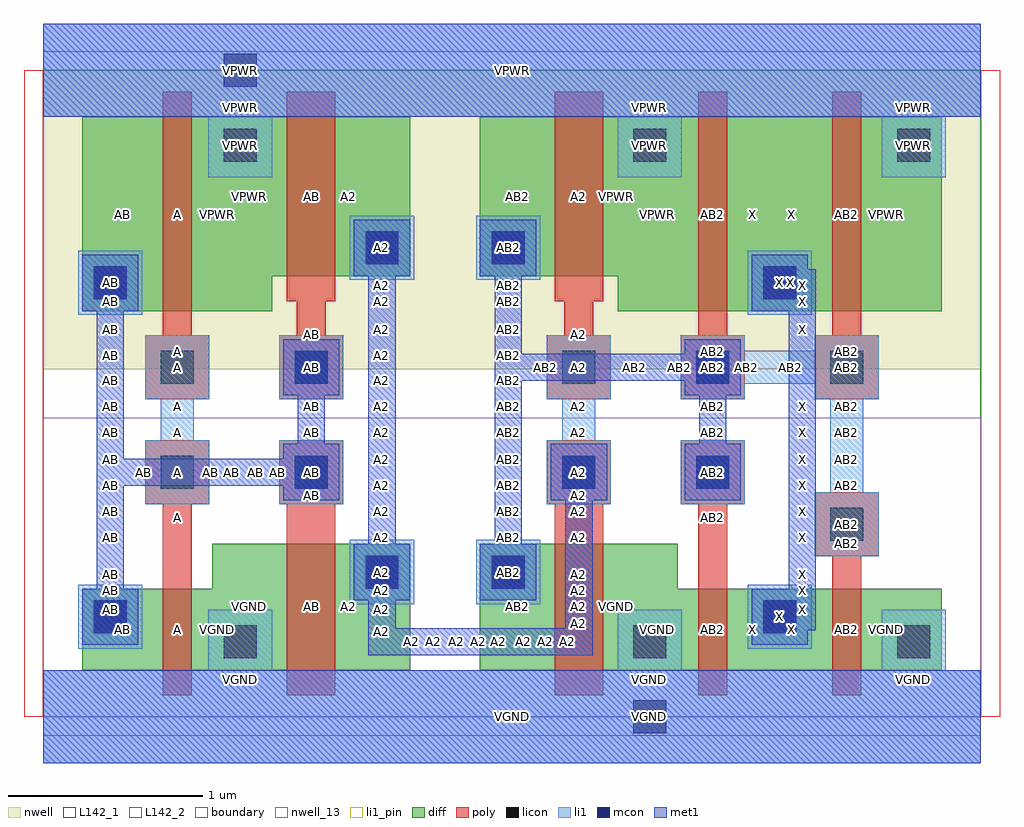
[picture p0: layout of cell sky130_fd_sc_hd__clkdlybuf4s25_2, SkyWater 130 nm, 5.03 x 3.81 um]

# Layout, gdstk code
import gdstk
lib = gdstk.Library(unit=1e-6, precision=1e-09)
def R(c, l, rs):  # rectangles x0, y0, x1, y1
    for r in rs: c.add(gdstk.rectangle(r[:2], r[2:], *l))
def A(c, l, x, y, w, h, nx, ny, dx, dy):  # array of equal rectangles
    R(c, l, [(x+i*dx, y+j*dy, x+i*dx+w, y+j*dy+h) for i in range(nx) for j in range(ny)])
def P(c, l, *ps):  # polygons
    for p in ps: c.add(gdstk.Polygon(p, *l))
nwell_13 = (64, 13)
nwell = (64, 20)
diff = (65, 20)
poly = (66, 20)
licon = (66, 44)
li1_pin = (67, 16)
li1 = (67, 20)
mcon = (67, 44)
met1 = (68, 20)
L142_1 = (142, 1)
L142_2 = (142, 2)
boundary = (235, 4)

sky130_fd_sc_hd__clkdlyb = lib.new_cell('sky130_fd_sc_hd__clkdlybuf4s25_2')
R(sky130_fd_sc_hd__clkdlyb, nwell_13, [(0,0,4.83,1.54)])
R(sky130_fd_sc_hd__clkdlyb, nwell, [(0,1.79,4.83,3.33)])
R(sky130_fd_sc_hd__clkdlyb, diff, [(0.2,0.24,0.615,0.66), (1.255,0.24,1.89,0.89), (2.25,0.24,2.635,0.89), (3.375,0.24,4.065,0.66), (4.065,0.24,4.63,0.66), (0.2,2.09,0.615,3.09), (3.375,2.09,4.065,3.09), (4.065,2.09,4.63,3.09), (1.255,2.27,1.89,3.09), (2.25,2.27,2.635,3.09)])
P(sky130_fd_sc_hd__clkdlyb, diff, [(0.2,0.24),(0.2,0.66),(0.87,0.66),(0.87,0.89),(1.89,0.89),(1.89,0.24)],
  [(2.25,0.24),(2.25,0.89),(3.27,0.89),(3.27,0.66),(4.63,0.66),(4.63,0.24)],
  [(0.2,2.09),(0.2,3.09),(1.89,3.09),(1.89,2.27),(1.18,2.27),(1.18,2.09)],
  [(2.96,2.09),(2.96,2.27),(2.25,2.27),(2.25,3.09),(4.63,3.09),(4.63,2.09)],
  [(0.615,0.24),(0.615,0.66),(0.87,0.66),(0.87,0.89),(1.255,0.89),(1.255,0.24)],
  [(2.635,0.24),(2.635,0.89),(3.27,0.89),(3.27,0.66),(3.375,0.66),(3.375,0.24)],
  [(0.615,2.09),(0.615,3.09),(1.255,3.09),(1.255,2.27),(1.18,2.27),(1.18,2.09)],
  [(2.96,2.09),(2.96,2.27),(2.635,2.27),(2.635,3.09),(3.375,3.09),(3.375,2.09)])
R(sky130_fd_sc_hd__clkdlyb, poly, [(1.255,1.02,1.305,1.095), (1.455,1.02,1.505,1.095), (2.635,1.02,2.685,1.095), (2.835,1.02,2.885,1.095)])
P(sky130_fd_sc_hd__clkdlyb, poly, [(2.635,0.11),(2.635,1.02),(2.685,1.02),(2.685,1.095),(2.595,1.095),(2.595,1.425),(2.925,1.425),(2.925,1.095),(2.835,1.095),(2.835,1.02),(2.885,1.02),(2.885,0.11)],
  [(2.595,1.635),(2.595,1.965),(2.685,1.965),(2.685,2.14),(2.635,2.14),(2.635,3.22),(2.885,3.22),(2.885,2.14),(2.835,2.14),(2.835,1.965),(2.925,1.965),(2.925,1.635)],
  [(0.615,0.11),(0.615,1.095),(0.525,1.095),(0.525,1.425),(0.855,1.425),(0.855,1.095),(0.765,1.095),(0.765,0.11)],
  [(0.525,1.635),(0.525,1.965),(0.615,1.965),(0.615,3.22),(0.765,3.22),(0.765,1.965),(0.855,1.965),(0.855,1.635)],
  [(1.255,0.11),(1.255,1.02),(1.305,1.02),(1.305,1.095),(1.215,1.095),(1.215,1.425),(1.545,1.425),(1.545,1.095),(1.455,1.095),(1.455,1.02),(1.505,1.02),(1.505,0.11)],
  [(1.215,1.635),(1.215,1.965),(1.305,1.965),(1.305,2.14),(1.255,2.14),(1.255,3.22),(1.505,3.22),(1.505,2.14),(1.455,2.14),(1.455,1.965),(1.545,1.965),(1.545,1.635)],
  [(4.065,0.11),(4.065,0.825),(3.975,0.825),(3.975,1.155),(4.305,1.155),(4.305,0.825),(4.215,0.825),(4.215,0.11)],
  [(3.375,0.11),(3.375,1.095),(3.285,1.095),(3.285,1.425),(3.615,1.425),(3.615,1.095),(3.525,1.095),(3.525,0.11)],
  [(3.285,1.635),(3.285,1.965),(3.375,1.965),(3.375,3.22),(3.525,3.22),(3.525,1.965),(3.615,1.965),(3.615,1.635)],
  [(3.975,1.635),(3.975,1.965),(4.065,1.965),(4.065,3.22),(4.215,3.22),(4.215,1.965),(4.305,1.965),(4.305,1.635)])
A(sky130_fd_sc_hd__clkdlyb, licon, 2.675, 1.715, 0.17, 0.17, 3, 1, 0.69, 0)
R(sky130_fd_sc_hd__clkdlyb, licon, [(0.93,0.3,1.1,0.47), (3.04,0.3,3.21,0.47), (4.4,0.3,4.57,0.47), (0.26,0.43,0.43,0.6), (3.71,0.43,3.88,0.6), (1.66,0.66,1.83,0.83), (2.31,0.66,2.48,0.83), (4.055,0.905,4.225,1.075), (0.605,1.175,0.775,1.345), (1.295,1.175,1.465,1.345), (2.675,1.175,2.845,1.345), (3.365,1.175,3.535,1.345), (0.605,1.715,0.775,1.885), (1.295,1.715,1.465,1.885), (0.26,2.15,0.43,2.32), (3.71,2.15,3.88,2.32), (1.66,2.33,1.83,2.5), (2.31,2.33,2.48,2.5), (0.93,2.86,1.1,3.03), (3.04,2.86,3.21,3.03), (4.4,2.86,4.57,3.03)])
R(sky130_fd_sc_hd__clkdlyb, li1_pin, [(0,-0.24,4.83,0.24), (3.63,0.35,3.96,0.68), (0,3.09,4.83,3.57)])
P(sky130_fd_sc_hd__clkdlyb, li1_pin, [(0.525,1.095),(0.525,1.425),(0.605,1.425),(0.605,1.635),(0.525,1.635),(0.525,1.965),(0.855,1.965),(0.855,1.635),(0.775,1.635),(0.775,1.425),(0.855,1.425),(0.855,1.095)])
R(sky130_fd_sc_hd__clkdlyb, li1, [(0.18,0.35,0.51,0.68), (3.63,0.35,3.96,0.68), (1.58,0.58,1.91,0.91), (2.23,0.58,2.56,0.91), (1.215,1.095,1.545,1.425), (3.285,1.095,3.615,1.425), (1.215,1.635,1.545,1.965), (0.18,2.07,0.51,2.4), (3.63,2.07,3.96,2.4), (1.58,2.25,1.91,2.58), (2.23,2.25,2.56,2.58)])
P(sky130_fd_sc_hd__clkdlyb, li1, [(2.595,1.095),(2.595,1.425),(2.675,1.425),(2.675,1.635),(2.595,1.635),(2.595,1.965),(2.925,1.965),(2.925,1.635),(2.845,1.635),(2.845,1.425),(2.925,1.425),(2.925,1.095)],
  [(0.85,2.78),(0.85,3.09),(0,3.09),(0,3.57),(4.83,3.57),(4.83,3.09),(4.65,3.09),(4.65,2.78),(4.32,2.78),(4.32,3.09),(3.29,3.09),(3.29,2.78),(2.96,2.78),(2.96,3.09),(1.18,3.09),(1.18,2.78)],
  [(0,-0.24),(0,0.24),(0.85,0.24),(0.85,0.55),(1.18,0.55),(1.18,0.24),(2.96,0.24),(2.96,0.55),(3.29,0.55),(3.29,0.24),(4.32,0.24),(4.32,0.55),(4.65,0.55),(4.65,0.24),(4.83,0.24),(4.83,-0.24)],
  [(0.525,1.095),(0.525,1.425),(0.605,1.425),(0.605,1.635),(0.525,1.635),(0.525,1.965),(0.855,1.965),(0.855,1.635),(0.775,1.635),(0.775,1.425),(0.855,1.425),(0.855,1.095)],
  [(3.975,0.825),(3.975,1.155),(4.055,1.155),(4.055,1.635),(3.975,1.635),(3.975,1.715),(3.615,1.715),(3.615,1.635),(3.285,1.635),(3.285,1.965),(3.615,1.965),(3.615,1.885),(3.975,1.885),(3.975,1.965),(4.305,1.965),(4.305,1.635),(4.225,1.635),(4.225,1.155),(4.305,1.155),(4.305,0.825)])
R(sky130_fd_sc_hd__clkdlyb, mcon, [(3.04,-0.085,3.21,0.085), (0.26,0.43,0.43,0.6), (3.71,0.43,3.88,0.6), (1.66,0.66,1.83,0.83), (2.31,0.66,2.48,0.83), (1.295,1.175,1.465,1.345), (2.675,1.175,2.845,1.345), (3.365,1.175,3.535,1.345), (1.295,1.715,1.465,1.885), (3.365,1.715,3.535,1.885), (0.26,2.15,0.43,2.32), (3.71,2.15,3.88,2.32), (1.66,2.33,1.83,2.5), (2.31,2.33,2.48,2.5), (0.93,3.245,1.1,3.415)])
R(sky130_fd_sc_hd__clkdlyb, met1, [(0,-0.24,4.83,0.24), (0,3.09,4.83,3.57)])
P(sky130_fd_sc_hd__clkdlyb, met1, [(1.675,0.315),(1.675,0.6),(1.6,0.6),(1.6,0.89),(1.675,0.89),(1.675,2.27),(1.6,2.27),(1.6,2.56),(1.89,2.56),(1.89,2.27),(1.815,2.27),(1.815,0.89),(1.89,0.89),(1.89,0.6),(1.815,0.6),(1.815,0.455),(2.69,0.455),(2.69,1.115),(2.615,1.115),(2.615,1.405),(2.905,1.405),(2.905,1.115),(2.83,1.115),(2.83,0.315)],
  [(0.2,0.37),(0.2,0.66),(0.275,0.66),(0.275,2.09),(0.2,2.09),(0.2,2.38),(0.49,2.38),(0.49,2.09),(0.415,2.09),(0.415,1.33),(1.235,1.33),(1.235,1.405),(1.31,1.405),(1.31,1.655),(1.235,1.655),(1.235,1.945),(1.525,1.945),(1.525,1.655),(1.45,1.655),(1.45,1.405),(1.525,1.405),(1.525,1.115),(1.235,1.115),(1.235,1.19),(0.415,1.19),(0.415,0.66),(0.49,0.66),(0.49,0.37)],
  [(3.65,0.37),(3.65,0.66),(3.84,0.66),(3.84,2.09),(3.65,2.09),(3.65,2.38),(3.94,2.38),(3.94,2.305),(3.98,2.305),(3.98,0.445),(3.94,0.445),(3.94,0.37)],
  [(2.25,0.6),(2.25,0.89),(2.325,0.89),(2.325,2.27),(2.25,2.27),(2.25,2.56),(2.54,2.56),(2.54,2.27),(2.465,2.27),(2.465,1.87),(3.305,1.87),(3.305,1.945),(3.595,1.945),(3.595,1.655),(3.52,1.655),(3.52,1.405),(3.595,1.405),(3.595,1.115),(3.305,1.115),(3.305,1.405),(3.38,1.405),(3.38,1.655),(3.305,1.655),(3.305,1.73),(2.465,1.73),(2.465,0.89),(2.54,0.89),(2.54,0.6)])
R(sky130_fd_sc_hd__clkdlyb, L142_1, [(0,-0.1,4.83,0), (0,3.33,4.83,3.43)])
R(sky130_fd_sc_hd__clkdlyb, L142_2, [(-0.1,0,0,3.33), (4.83,0,4.93,3.33)])
R(sky130_fd_sc_hd__clkdlyb, boundary, [(0,0,4.83,3.33)])
sky130_fd_sc_hd__clkdlyb.add(gdstk.Label('AB2', (2.442,0.565), layer=65, texttype=20))
sky130_fd_sc_hd__clkdlyb.add(gdstk.Label('VGND', (2.952,0.565), layer=65, texttype=20))
sky130_fd_sc_hd__clkdlyb.add(gdstk.Label('X', (3.857,0.45), layer=65, texttype=20))
sky130_fd_sc_hd__clkdlyb.add(gdstk.Label('VGND', (4.347,0.45), layer=65, texttype=20))
sky130_fd_sc_hd__clkdlyb.add(gdstk.Label('VGND', (1.062,0.565), layer=65, texttype=20))
sky130_fd_sc_hd__clkdlyb.add(gdstk.Label('A2', (1.572,0.565), layer=65, texttype=20))
sky130_fd_sc_hd__clkdlyb.add(gdstk.Label('AB', (0.407,0.45), layer=65, texttype=20))
sky130_fd_sc_hd__clkdlyb.add(gdstk.Label('VGND', (0.897,0.45), layer=65, texttype=20))
sky130_fd_sc_hd__clkdlyb.add(gdstk.Label('VGND', (3.167,0.45), layer=65, texttype=20))
sky130_fd_sc_hd__clkdlyb.add(gdstk.Label('X', (3.657,0.45), layer=65, texttype=20))
sky130_fd_sc_hd__clkdlyb.add(gdstk.Label('AB2', (2.442,0.565), layer=65, texttype=20))
sky130_fd_sc_hd__clkdlyb.add(gdstk.Label('VGND', (2.952,0.565), layer=65, texttype=20))
sky130_fd_sc_hd__clkdlyb.add(gdstk.Label('X', (3.857,0.45), layer=65, texttype=20))
sky130_fd_sc_hd__clkdlyb.add(gdstk.Label('VGND', (4.347,0.45), layer=65, texttype=20))
sky130_fd_sc_hd__clkdlyb.add(gdstk.Label('VGND', (1.062,0.565), layer=65, texttype=20))
sky130_fd_sc_hd__clkdlyb.add(gdstk.Label('A2', (1.572,0.565), layer=65, texttype=20))
sky130_fd_sc_hd__clkdlyb.add(gdstk.Label('AB', (0.407,0.45), layer=65, texttype=20))
sky130_fd_sc_hd__clkdlyb.add(gdstk.Label('VGND', (0.897,0.45), layer=65, texttype=20))
sky130_fd_sc_hd__clkdlyb.add(gdstk.Label('VGND', (3.167,0.45), layer=65, texttype=20))
sky130_fd_sc_hd__clkdlyb.add(gdstk.Label('X', (3.657,0.45), layer=65, texttype=20))
sky130_fd_sc_hd__clkdlyb.add(gdstk.Label('AB2', (2.395,0.745), layer=65, texttype=20))
sky130_fd_sc_hd__clkdlyb.add(gdstk.Label('VGND', (3.125,0.385), layer=65, texttype=20))
sky130_fd_sc_hd__clkdlyb.add(gdstk.Label('VGND', (1.015,0.385), layer=65, texttype=20))
sky130_fd_sc_hd__clkdlyb.add(gdstk.Label('VGND', (4.485,0.385), layer=65, texttype=20))
sky130_fd_sc_hd__clkdlyb.add(gdstk.Label('X', (3.795,0.515), layer=65, texttype=20))
sky130_fd_sc_hd__clkdlyb.add(gdstk.Label('A2', (1.745,0.745), layer=65, texttype=20))
sky130_fd_sc_hd__clkdlyb.add(gdstk.Label('AB', (0.345,0.515), layer=65, texttype=20))
sky130_fd_sc_hd__clkdlyb.add(gdstk.Label('VPWR', (1.062,2.68), layer=65, texttype=20))
sky130_fd_sc_hd__clkdlyb.add(gdstk.Label('A2', (1.572,2.68), layer=65, texttype=20))
sky130_fd_sc_hd__clkdlyb.add(gdstk.Label('AB', (0.407,2.59), layer=65, texttype=20))
sky130_fd_sc_hd__clkdlyb.add(gdstk.Label('VPWR', (0.897,2.59), layer=65, texttype=20))
sky130_fd_sc_hd__clkdlyb.add(gdstk.Label('VPWR', (3.167,2.59), layer=65, texttype=20))
sky130_fd_sc_hd__clkdlyb.add(gdstk.Label('X', (3.657,2.59), layer=65, texttype=20))
sky130_fd_sc_hd__clkdlyb.add(gdstk.Label('AB2', (2.442,2.68), layer=65, texttype=20))
sky130_fd_sc_hd__clkdlyb.add(gdstk.Label('VPWR', (2.952,2.68), layer=65, texttype=20))
sky130_fd_sc_hd__clkdlyb.add(gdstk.Label('X', (3.857,2.59), layer=65, texttype=20))
sky130_fd_sc_hd__clkdlyb.add(gdstk.Label('VPWR', (4.347,2.59), layer=65, texttype=20))
sky130_fd_sc_hd__clkdlyb.add(gdstk.Label('VPWR', (1.062,2.68), layer=65, texttype=20))
sky130_fd_sc_hd__clkdlyb.add(gdstk.Label('A2', (1.572,2.68), layer=65, texttype=20))
sky130_fd_sc_hd__clkdlyb.add(gdstk.Label('AB', (0.407,2.59), layer=65, texttype=20))
sky130_fd_sc_hd__clkdlyb.add(gdstk.Label('VPWR', (0.897,2.59), layer=65, texttype=20))
sky130_fd_sc_hd__clkdlyb.add(gdstk.Label('VPWR', (3.167,2.59), layer=65, texttype=20))
sky130_fd_sc_hd__clkdlyb.add(gdstk.Label('X', (3.657,2.59), layer=65, texttype=20))
sky130_fd_sc_hd__clkdlyb.add(gdstk.Label('AB2', (2.442,2.68), layer=65, texttype=20))
sky130_fd_sc_hd__clkdlyb.add(gdstk.Label('VPWR', (2.952,2.68), layer=65, texttype=20))
sky130_fd_sc_hd__clkdlyb.add(gdstk.Label('X', (3.857,2.59), layer=65, texttype=20))
sky130_fd_sc_hd__clkdlyb.add(gdstk.Label('VPWR', (4.347,2.59), layer=65, texttype=20))
sky130_fd_sc_hd__clkdlyb.add(gdstk.Label('AB2', (2.395,2.415), layer=65, texttype=20))
sky130_fd_sc_hd__clkdlyb.add(gdstk.Label('X', (3.795,2.235), layer=65, texttype=20))
sky130_fd_sc_hd__clkdlyb.add(gdstk.Label('A2', (1.745,2.415), layer=65, texttype=20))
sky130_fd_sc_hd__clkdlyb.add(gdstk.Label('AB', (0.345,2.235), layer=65, texttype=20))
sky130_fd_sc_hd__clkdlyb.add(gdstk.Label('VPWR', (1.015,2.945), layer=65, texttype=20))
sky130_fd_sc_hd__clkdlyb.add(gdstk.Label('VPWR', (4.485,2.945), layer=65, texttype=20))
sky130_fd_sc_hd__clkdlyb.add(gdstk.Label('VPWR', (3.125,2.945), layer=65, texttype=20))
sky130_fd_sc_hd__clkdlyb.add(gdstk.Label('AB', (1.38,2.68), layer=66, texttype=20))
sky130_fd_sc_hd__clkdlyb.add(gdstk.Label('A2', (2.76,0.565), layer=66, texttype=20))
sky130_fd_sc_hd__clkdlyb.add(gdstk.Label('A', (0.69,2.59), layer=66, texttype=20))
sky130_fd_sc_hd__clkdlyb.add(gdstk.Label('AB2', (4.14,0.45), layer=66, texttype=20))
sky130_fd_sc_hd__clkdlyb.add(gdstk.Label('AB2', (3.45,2.59), layer=66, texttype=20))
sky130_fd_sc_hd__clkdlyb.add(gdstk.Label('AB', (1.38,0.565), layer=66, texttype=20))
sky130_fd_sc_hd__clkdlyb.add(gdstk.Label('A2', (2.76,2.68), layer=66, texttype=20))
sky130_fd_sc_hd__clkdlyb.add(gdstk.Label('AB2', (4.14,2.59), layer=66, texttype=20))
sky130_fd_sc_hd__clkdlyb.add(gdstk.Label('A', (0.69,0.45), layer=66, texttype=20))
sky130_fd_sc_hd__clkdlyb.add(gdstk.Label('AB2', (3.45,0.45), layer=66, texttype=20))
sky130_fd_sc_hd__clkdlyb.add(gdstk.Label('AB', (1.38,2.68), layer=66, texttype=20))
sky130_fd_sc_hd__clkdlyb.add(gdstk.Label('A2', (2.76,0.565), layer=66, texttype=20))
sky130_fd_sc_hd__clkdlyb.add(gdstk.Label('A', (0.69,2.59), layer=66, texttype=20))
sky130_fd_sc_hd__clkdlyb.add(gdstk.Label('AB2', (4.14,0.45), layer=66, texttype=20))
sky130_fd_sc_hd__clkdlyb.add(gdstk.Label('AB2', (3.45,2.59), layer=66, texttype=20))
sky130_fd_sc_hd__clkdlyb.add(gdstk.Label('AB', (1.38,0.565), layer=66, texttype=20))
sky130_fd_sc_hd__clkdlyb.add(gdstk.Label('A2', (2.76,2.68), layer=66, texttype=20))
sky130_fd_sc_hd__clkdlyb.add(gdstk.Label('AB2', (4.14,2.59), layer=66, texttype=20))
sky130_fd_sc_hd__clkdlyb.add(gdstk.Label('A', (0.69,0.45), layer=66, texttype=20))
sky130_fd_sc_hd__clkdlyb.add(gdstk.Label('AB2', (3.45,0.45), layer=66, texttype=20))
sky130_fd_sc_hd__clkdlyb.add(gdstk.Label('AB2', (3.45,1.88), layer=66, texttype=20))
sky130_fd_sc_hd__clkdlyb.add(gdstk.Label('AB2', (3.45,1.025), layer=66, texttype=20))
sky130_fd_sc_hd__clkdlyb.add(gdstk.Label('AB2', (4.14,1.88), layer=66, texttype=20))
sky130_fd_sc_hd__clkdlyb.add(gdstk.Label('AB2', (4.14,0.89), layer=66, texttype=20))
sky130_fd_sc_hd__clkdlyb.add(gdstk.Label('A2', (2.76,1.14), layer=66, texttype=20))
sky130_fd_sc_hd__clkdlyb.add(gdstk.Label('A2', (2.76,1.97), layer=66, texttype=20))
sky130_fd_sc_hd__clkdlyb.add(gdstk.Label('AB', (1.38,1.14), layer=66, texttype=20))
sky130_fd_sc_hd__clkdlyb.add(gdstk.Label('AB', (1.38,1.97), layer=66, texttype=20))
sky130_fd_sc_hd__clkdlyb.add(gdstk.Label('A', (0.69,1.88), layer=66, texttype=20))
sky130_fd_sc_hd__clkdlyb.add(gdstk.Label('A', (0.69,1.025), layer=66, texttype=20))
sky130_fd_sc_hd__clkdlyb.add(gdstk.Label('AB2', (3.45,1.8), layer=66, texttype=20))
sky130_fd_sc_hd__clkdlyb.add(gdstk.Label('AB2', (3.45,1.26), layer=66, texttype=20))
sky130_fd_sc_hd__clkdlyb.add(gdstk.Label('AB2', (4.14,1.8), layer=66, texttype=20))
sky130_fd_sc_hd__clkdlyb.add(gdstk.Label('AB2', (4.14,0.99), layer=66, texttype=20))
sky130_fd_sc_hd__clkdlyb.add(gdstk.Label('A2', (2.76,1.26), layer=66, texttype=20))
sky130_fd_sc_hd__clkdlyb.add(gdstk.Label('A2', (2.76,1.8), layer=66, texttype=20))
sky130_fd_sc_hd__clkdlyb.add(gdstk.Label('AB', (1.38,1.26), layer=66, texttype=20))
sky130_fd_sc_hd__clkdlyb.add(gdstk.Label('AB', (1.38,1.8), layer=66, texttype=20))
sky130_fd_sc_hd__clkdlyb.add(gdstk.Label('A', (0.69,1.8), layer=66, texttype=20))
sky130_fd_sc_hd__clkdlyb.add(gdstk.Label('A', (0.69,1.26), layer=66, texttype=20))
sky130_fd_sc_hd__clkdlyb.add(gdstk.Label('AB2', (2.395,2.415), layer=66, texttype=44))
sky130_fd_sc_hd__clkdlyb.add(gdstk.Label('X', (3.795,2.235), layer=66, texttype=44))
sky130_fd_sc_hd__clkdlyb.add(gdstk.Label('A2', (1.745,2.415), layer=66, texttype=44))
sky130_fd_sc_hd__clkdlyb.add(gdstk.Label('AB', (0.345,2.235), layer=66, texttype=44))
sky130_fd_sc_hd__clkdlyb.add(gdstk.Label('VPWR', (1.015,2.945), layer=66, texttype=44))
sky130_fd_sc_hd__clkdlyb.add(gdstk.Label('VPWR', (4.485,2.945), layer=66, texttype=44))
sky130_fd_sc_hd__clkdlyb.add(gdstk.Label('VPWR', (3.125,2.945), layer=66, texttype=44))
sky130_fd_sc_hd__clkdlyb.add(gdstk.Label('AB2', (2.395,0.745), layer=66, texttype=44))
sky130_fd_sc_hd__clkdlyb.add(gdstk.Label('VGND', (3.125,0.385), layer=66, texttype=44))
sky130_fd_sc_hd__clkdlyb.add(gdstk.Label('VGND', (1.015,0.385), layer=66, texttype=44))
sky130_fd_sc_hd__clkdlyb.add(gdstk.Label('VGND', (4.485,0.385), layer=66, texttype=44))
sky130_fd_sc_hd__clkdlyb.add(gdstk.Label('X', (3.795,0.515), layer=66, texttype=44))
sky130_fd_sc_hd__clkdlyb.add(gdstk.Label('A2', (1.745,0.745), layer=66, texttype=44))
sky130_fd_sc_hd__clkdlyb.add(gdstk.Label('AB', (0.345,0.515), layer=66, texttype=44))
sky130_fd_sc_hd__clkdlyb.add(gdstk.Label('AB2', (3.45,1.8), layer=66, texttype=44))
sky130_fd_sc_hd__clkdlyb.add(gdstk.Label('AB2', (3.45,1.26), layer=66, texttype=44))
sky130_fd_sc_hd__clkdlyb.add(gdstk.Label('AB2', (4.14,1.8), layer=66, texttype=44))
sky130_fd_sc_hd__clkdlyb.add(gdstk.Label('AB2', (4.14,0.99), layer=66, texttype=44))
sky130_fd_sc_hd__clkdlyb.add(gdstk.Label('A2', (2.76,1.26), layer=66, texttype=44))
sky130_fd_sc_hd__clkdlyb.add(gdstk.Label('A2', (2.76,1.8), layer=66, texttype=44))
sky130_fd_sc_hd__clkdlyb.add(gdstk.Label('AB', (1.38,1.26), layer=66, texttype=44))
sky130_fd_sc_hd__clkdlyb.add(gdstk.Label('AB', (1.38,1.8), layer=66, texttype=44))
sky130_fd_sc_hd__clkdlyb.add(gdstk.Label('A', (0.69,1.8), layer=66, texttype=44))
sky130_fd_sc_hd__clkdlyb.add(gdstk.Label('A', (0.69,1.26), layer=66, texttype=44))
sky130_fd_sc_hd__clkdlyb.add(gdstk.Label('VPWR', (2.415,3.33), layer=67, texttype=20))
sky130_fd_sc_hd__clkdlyb.add(gdstk.Label('VGND', (2.415,0), layer=67, texttype=20))
sky130_fd_sc_hd__clkdlyb.add(gdstk.Label('VPWR', (2.415,3.33), layer=67, texttype=20))
sky130_fd_sc_hd__clkdlyb.add(gdstk.Label('VGND', (2.415,0), layer=67, texttype=20))
sky130_fd_sc_hd__clkdlyb.add(gdstk.Label('AB2', (3.507,1.8), layer=67, texttype=20))
sky130_fd_sc_hd__clkdlyb.add(gdstk.Label('AB2', (3.622,1.8), layer=67, texttype=20))
sky130_fd_sc_hd__clkdlyb.add(gdstk.Label('AB2', (3.737,1.8), layer=67, texttype=20))
sky130_fd_sc_hd__clkdlyb.add(gdstk.Label('AB2', (3.852,1.8), layer=67, texttype=20))
sky130_fd_sc_hd__clkdlyb.add(gdstk.Label('AB2', (3.967,1.8), layer=67, texttype=20))
sky130_fd_sc_hd__clkdlyb.add(gdstk.Label('AB2', (4.082,1.8), layer=67, texttype=20))
sky130_fd_sc_hd__clkdlyb.add(gdstk.Label('AB2', (4.14,1.732), layer=67, texttype=20))
sky130_fd_sc_hd__clkdlyb.add(gdstk.Label('AB2', (4.14,1.597), layer=67, texttype=20))
sky130_fd_sc_hd__clkdlyb.add(gdstk.Label('AB2', (4.14,1.462), layer=67, texttype=20))
sky130_fd_sc_hd__clkdlyb.add(gdstk.Label('AB2', (4.14,1.327), layer=67, texttype=20))
sky130_fd_sc_hd__clkdlyb.add(gdstk.Label('AB2', (4.14,1.192), layer=67, texttype=20))
sky130_fd_sc_hd__clkdlyb.add(gdstk.Label('AB2', (4.14,1.057), layer=67, texttype=20))
sky130_fd_sc_hd__clkdlyb.add(gdstk.Label('VGND', (3.125,0.192), layer=67, texttype=20))
sky130_fd_sc_hd__clkdlyb.add(gdstk.Label('VGND', (1.015,0.192), layer=67, texttype=20))
sky130_fd_sc_hd__clkdlyb.add(gdstk.Label('VGND', (4.485,0.192), layer=67, texttype=20))
sky130_fd_sc_hd__clkdlyb.add(gdstk.Label('A2', (2.76,1.327), layer=67, texttype=20))
sky130_fd_sc_hd__clkdlyb.add(gdstk.Label('A2', (2.76,1.462), layer=67, texttype=20))
sky130_fd_sc_hd__clkdlyb.add(gdstk.Label('A2', (2.76,1.597), layer=67, texttype=20))
sky130_fd_sc_hd__clkdlyb.add(gdstk.Label('A2', (2.76,1.732), layer=67, texttype=20))
sky130_fd_sc_hd__clkdlyb.add(gdstk.Label('VPWR', (1.015,3.137), layer=67, texttype=20))
sky130_fd_sc_hd__clkdlyb.add(gdstk.Label('VPWR', (4.485,3.137), layer=67, texttype=20))
sky130_fd_sc_hd__clkdlyb.add(gdstk.Label('VPWR', (3.125,3.137), layer=67, texttype=20))
sky130_fd_sc_hd__clkdlyb.add(gdstk.Label('A', (0.69,1.732), layer=67, texttype=20))
sky130_fd_sc_hd__clkdlyb.add(gdstk.Label('A', (0.69,1.597), layer=67, texttype=20))
sky130_fd_sc_hd__clkdlyb.add(gdstk.Label('A', (0.69,1.462), layer=67, texttype=20))
sky130_fd_sc_hd__clkdlyb.add(gdstk.Label('A', (0.69,1.327), layer=67, texttype=20))
sky130_fd_sc_hd__clkdlyb.add(gdstk.Label('AB2', (2.395,0.745), layer=67, texttype=20))
sky130_fd_sc_hd__clkdlyb.add(gdstk.Label('AB2', (2.395,0.745), layer=67, texttype=20))
sky130_fd_sc_hd__clkdlyb.add(gdstk.Label('AB2', (2.395,2.415), layer=67, texttype=20))
sky130_fd_sc_hd__clkdlyb.add(gdstk.Label('AB2', (2.395,2.415), layer=67, texttype=20))
sky130_fd_sc_hd__clkdlyb.add(gdstk.Label('AB2', (3.45,1.8), layer=67, texttype=20))
sky130_fd_sc_hd__clkdlyb.add(gdstk.Label('AB2', (3.45,1.8), layer=67, texttype=20))
sky130_fd_sc_hd__clkdlyb.add(gdstk.Label('AB2', (3.45,1.26), layer=67, texttype=20))
sky130_fd_sc_hd__clkdlyb.add(gdstk.Label('AB2', (3.45,1.26), layer=67, texttype=20))
sky130_fd_sc_hd__clkdlyb.add(gdstk.Label('AB2', (4.14,1.8), layer=67, texttype=20))
sky130_fd_sc_hd__clkdlyb.add(gdstk.Label('AB2', (4.14,0.99), layer=67, texttype=20))
sky130_fd_sc_hd__clkdlyb.add(gdstk.Label('VGND', (3.125,0.385), layer=67, texttype=20))
sky130_fd_sc_hd__clkdlyb.add(gdstk.Label('VGND', (3.125,0), layer=67, texttype=20))
sky130_fd_sc_hd__clkdlyb.add(gdstk.Label('VGND', (1.015,0.385), layer=67, texttype=20))
sky130_fd_sc_hd__clkdlyb.add(gdstk.Label('VGND', (4.485,0.385), layer=67, texttype=20))
sky130_fd_sc_hd__clkdlyb.add(gdstk.Label('X', (3.795,0.515), layer=67, texttype=20))
sky130_fd_sc_hd__clkdlyb.add(gdstk.Label('X', (3.795,0.515), layer=67, texttype=20))
sky130_fd_sc_hd__clkdlyb.add(gdstk.Label('X', (3.795,2.235), layer=67, texttype=20))
sky130_fd_sc_hd__clkdlyb.add(gdstk.Label('X', (3.795,2.235), layer=67, texttype=20))
sky130_fd_sc_hd__clkdlyb.add(gdstk.Label('A2', (1.745,0.745), layer=67, texttype=20))
sky130_fd_sc_hd__clkdlyb.add(gdstk.Label('A2', (1.745,0.745), layer=67, texttype=20))
sky130_fd_sc_hd__clkdlyb.add(gdstk.Label('A2', (1.745,2.415), layer=67, texttype=20))
sky130_fd_sc_hd__clkdlyb.add(gdstk.Label('A2', (1.745,2.415), layer=67, texttype=20))
sky130_fd_sc_hd__clkdlyb.add(gdstk.Label('A2', (2.76,1.26), layer=67, texttype=20))
sky130_fd_sc_hd__clkdlyb.add(gdstk.Label('A2', (2.76,1.26), layer=67, texttype=20))
sky130_fd_sc_hd__clkdlyb.add(gdstk.Label('A2', (2.76,1.8), layer=67, texttype=20))
sky130_fd_sc_hd__clkdlyb.add(gdstk.Label('AB', (0.345,0.515), layer=67, texttype=20))
sky130_fd_sc_hd__clkdlyb.add(gdstk.Label('AB', (0.345,0.515), layer=67, texttype=20))
sky130_fd_sc_hd__clkdlyb.add(gdstk.Label('AB', (0.345,2.235), layer=67, texttype=20))
sky130_fd_sc_hd__clkdlyb.add(gdstk.Label('AB', (0.345,2.235), layer=67, texttype=20))
sky130_fd_sc_hd__clkdlyb.add(gdstk.Label('AB', (1.38,1.26), layer=67, texttype=20))
sky130_fd_sc_hd__clkdlyb.add(gdstk.Label('AB', (1.38,1.26), layer=67, texttype=20))
sky130_fd_sc_hd__clkdlyb.add(gdstk.Label('AB', (1.38,1.8), layer=67, texttype=20))
sky130_fd_sc_hd__clkdlyb.add(gdstk.Label('AB', (1.38,1.8), layer=67, texttype=20))
sky130_fd_sc_hd__clkdlyb.add(gdstk.Label('VPWR', (1.015,2.945), layer=67, texttype=20))
sky130_fd_sc_hd__clkdlyb.add(gdstk.Label('VPWR', (1.015,3.33), layer=67, texttype=20))
sky130_fd_sc_hd__clkdlyb.add(gdstk.Label('VPWR', (4.485,2.945), layer=67, texttype=20))
sky130_fd_sc_hd__clkdlyb.add(gdstk.Label('VPWR', (3.125,2.945), layer=67, texttype=20))
sky130_fd_sc_hd__clkdlyb.add(gdstk.Label('A', (0.69,1.8), layer=67, texttype=20))
sky130_fd_sc_hd__clkdlyb.add(gdstk.Label('A', (0.69,1.26), layer=67, texttype=20))
sky130_fd_sc_hd__clkdlyb.add(gdstk.Label('X', (3.795,0.515), layer=67, texttype=5))
sky130_fd_sc_hd__clkdlyb.add(gdstk.Label('A', (0.69,1.26), layer=67, texttype=5))
sky130_fd_sc_hd__clkdlyb.add(gdstk.Label('VGND', (2.415,0), layer=67, texttype=5))
sky130_fd_sc_hd__clkdlyb.add(gdstk.Label('VPWR', (2.415,3.33), layer=67, texttype=5))
sky130_fd_sc_hd__clkdlyb.add(gdstk.Label('AB2', (2.395,0.745), layer=67, texttype=44))
sky130_fd_sc_hd__clkdlyb.add(gdstk.Label('AB2', (2.395,2.415), layer=67, texttype=44))
sky130_fd_sc_hd__clkdlyb.add(gdstk.Label('AB2', (3.45,1.8), layer=67, texttype=44))
sky130_fd_sc_hd__clkdlyb.add(gdstk.Label('AB2', (3.45,1.26), layer=67, texttype=44))
sky130_fd_sc_hd__clkdlyb.add(gdstk.Label('VGND', (3.125,0), layer=67, texttype=44))
sky130_fd_sc_hd__clkdlyb.add(gdstk.Label('X', (3.795,0.515), layer=67, texttype=44))
sky130_fd_sc_hd__clkdlyb.add(gdstk.Label('X', (3.795,2.235), layer=67, texttype=44))
sky130_fd_sc_hd__clkdlyb.add(gdstk.Label('A2', (1.745,0.745), layer=67, texttype=44))
sky130_fd_sc_hd__clkdlyb.add(gdstk.Label('A2', (1.745,2.415), layer=67, texttype=44))
sky130_fd_sc_hd__clkdlyb.add(gdstk.Label('A2', (2.76,1.26), layer=67, texttype=44))
sky130_fd_sc_hd__clkdlyb.add(gdstk.Label('AB', (0.345,0.515), layer=67, texttype=44))
sky130_fd_sc_hd__clkdlyb.add(gdstk.Label('AB', (0.345,2.235), layer=67, texttype=44))
sky130_fd_sc_hd__clkdlyb.add(gdstk.Label('AB', (1.38,1.26), layer=67, texttype=44))
sky130_fd_sc_hd__clkdlyb.add(gdstk.Label('AB', (1.38,1.8), layer=67, texttype=44))
sky130_fd_sc_hd__clkdlyb.add(gdstk.Label('VPWR', (1.015,3.33), layer=67, texttype=44))
sky130_fd_sc_hd__clkdlyb.add(gdstk.Label('VPWR', (2.415,3.33), layer=68, texttype=20))
sky130_fd_sc_hd__clkdlyb.add(gdstk.Label('VPWR', (2.415,3.33), layer=68, texttype=20))
sky130_fd_sc_hd__clkdlyb.add(gdstk.Label('AB2', (2.395,1.732), layer=68, texttype=20))
sky130_fd_sc_hd__clkdlyb.add(gdstk.Label('AB2', (2.395,1.862), layer=68, texttype=20))
sky130_fd_sc_hd__clkdlyb.add(gdstk.Label('AB2', (2.405,1.8), layer=68, texttype=20))
sky130_fd_sc_hd__clkdlyb.add(gdstk.Label('AB2', (2.395,1.997), layer=68, texttype=20))
sky130_fd_sc_hd__clkdlyb.add(gdstk.Label('AB2', (2.395,2.137), layer=68, texttype=20))
sky130_fd_sc_hd__clkdlyb.add(gdstk.Label('AB2', (2.395,2.22), layer=68, texttype=20))
sky130_fd_sc_hd__clkdlyb.add(gdstk.Label('AB2', (2.395,2.287), layer=68, texttype=20))
sky130_fd_sc_hd__clkdlyb.add(gdstk.Label('AB2', (2.395,2.377), layer=68, texttype=20))
sky130_fd_sc_hd__clkdlyb.add(gdstk.Label('AB2', (2.472,1.8), layer=68, texttype=20))
sky130_fd_sc_hd__clkdlyb.add(gdstk.Label('AB2', (3.45,1.732), layer=68, texttype=20))
sky130_fd_sc_hd__clkdlyb.add(gdstk.Label('X', (3.91,1.732), layer=68, texttype=20))
sky130_fd_sc_hd__clkdlyb.add(gdstk.Label('X', (3.91,1.862), layer=68, texttype=20))
sky130_fd_sc_hd__clkdlyb.add(gdstk.Label('X', (3.91,1.997), layer=68, texttype=20))
sky130_fd_sc_hd__clkdlyb.add(gdstk.Label('X', (3.91,2.137), layer=68, texttype=20))
sky130_fd_sc_hd__clkdlyb.add(gdstk.Label('X', (3.91,2.22), layer=68, texttype=20))
sky130_fd_sc_hd__clkdlyb.add(gdstk.Label('X', (3.852,2.235), layer=68, texttype=20))
sky130_fd_sc_hd__clkdlyb.add(gdstk.Label('AB2', (3.047,1.8), layer=68, texttype=20))
sky130_fd_sc_hd__clkdlyb.add(gdstk.Label('AB2', (3.115,1.8), layer=68, texttype=20))
sky130_fd_sc_hd__clkdlyb.add(gdstk.Label('AB2', (3.172,1.8), layer=68, texttype=20))
sky130_fd_sc_hd__clkdlyb.add(gdstk.Label('AB2', (3.277,1.8), layer=68, texttype=20))
sky130_fd_sc_hd__clkdlyb.add(gdstk.Label('AB2', (3.392,1.8), layer=68, texttype=20))
sky130_fd_sc_hd__clkdlyb.add(gdstk.Label('AB2', (2.587,1.8), layer=68, texttype=20))
sky130_fd_sc_hd__clkdlyb.add(gdstk.Label('AB2', (2.702,1.8), layer=68, texttype=20))
sky130_fd_sc_hd__clkdlyb.add(gdstk.Label('AB2', (2.817,1.8), layer=68, texttype=20))
sky130_fd_sc_hd__clkdlyb.add(gdstk.Label('AB2', (2.932,1.8), layer=68, texttype=20))
sky130_fd_sc_hd__clkdlyb.add(gdstk.Label('AB2', (2.395,2.415), layer=68, texttype=20))
sky130_fd_sc_hd__clkdlyb.add(gdstk.Label('AB2', (3.45,1.8), layer=68, texttype=20))
sky130_fd_sc_hd__clkdlyb.add(gdstk.Label('X', (3.795,2.235), layer=68, texttype=20))
sky130_fd_sc_hd__clkdlyb.add(gdstk.Label('A2', (1.745,1.997), layer=68, texttype=20))
sky130_fd_sc_hd__clkdlyb.add(gdstk.Label('A2', (1.745,2.137), layer=68, texttype=20))
sky130_fd_sc_hd__clkdlyb.add(gdstk.Label('A2', (1.745,2.22), layer=68, texttype=20))
sky130_fd_sc_hd__clkdlyb.add(gdstk.Label('A2', (1.745,2.287), layer=68, texttype=20))
sky130_fd_sc_hd__clkdlyb.add(gdstk.Label('AB', (0.345,1.862), layer=68, texttype=20))
sky130_fd_sc_hd__clkdlyb.add(gdstk.Label('AB', (0.345,1.997), layer=68, texttype=20))
sky130_fd_sc_hd__clkdlyb.add(gdstk.Label('AB', (0.345,2.137), layer=68, texttype=20))
sky130_fd_sc_hd__clkdlyb.add(gdstk.Label('AB', (0.345,2.22), layer=68, texttype=20))
sky130_fd_sc_hd__clkdlyb.add(gdstk.Label('A2', (1.745,2.377), layer=68, texttype=20))
sky130_fd_sc_hd__clkdlyb.add(gdstk.Label('A2', (1.745,1.862), layer=68, texttype=20))
sky130_fd_sc_hd__clkdlyb.add(gdstk.Label('AB', (1.38,1.732), layer=68, texttype=20))
sky130_fd_sc_hd__clkdlyb.add(gdstk.Label('A2', (1.745,1.732), layer=68, texttype=20))
sky130_fd_sc_hd__clkdlyb.add(gdstk.Label('AB', (0.345,1.732), layer=68, texttype=20))
sky130_fd_sc_hd__clkdlyb.add(gdstk.Label('A2', (1.745,2.415), layer=68, texttype=20))
sky130_fd_sc_hd__clkdlyb.add(gdstk.Label('AB', (0.345,2.235), layer=68, texttype=20))
sky130_fd_sc_hd__clkdlyb.add(gdstk.Label('AB', (1.38,1.8), layer=68, texttype=20))
sky130_fd_sc_hd__clkdlyb.add(gdstk.Label('VPWR', (1.015,3.33), layer=68, texttype=20))
sky130_fd_sc_hd__clkdlyb.add(gdstk.Label('A2', (2.127,0.385), layer=68, texttype=20))
sky130_fd_sc_hd__clkdlyb.add(gdstk.Label('A2', (1.745,0.732), layer=68, texttype=20))
sky130_fd_sc_hd__clkdlyb.add(gdstk.Label('A2', (1.745,0.922), layer=68, texttype=20))
sky130_fd_sc_hd__clkdlyb.add(gdstk.Label('A2', (1.745,1.057), layer=68, texttype=20))
sky130_fd_sc_hd__clkdlyb.add(gdstk.Label('AB', (0.345,0.55), layer=68, texttype=20))
sky130_fd_sc_hd__clkdlyb.add(gdstk.Label('AB', (0.345,0.652), layer=68, texttype=20))
sky130_fd_sc_hd__clkdlyb.add(gdstk.Label('AB', (0.345,0.732), layer=68, texttype=20))
sky130_fd_sc_hd__clkdlyb.add(gdstk.Label('AB', (0.345,0.8), layer=68, texttype=20))
sky130_fd_sc_hd__clkdlyb.add(gdstk.Label('AB', (0.345,0.922), layer=68, texttype=20))
sky130_fd_sc_hd__clkdlyb.add(gdstk.Label('AB', (0.345,1.057), layer=68, texttype=20))
sky130_fd_sc_hd__clkdlyb.add(gdstk.Label('AB', (0.345,1.192), layer=68, texttype=20))
sky130_fd_sc_hd__clkdlyb.add(gdstk.Label('AB', (0.345,1.327), layer=68, texttype=20))
sky130_fd_sc_hd__clkdlyb.add(gdstk.Label('AB', (0.402,1.26), layer=68, texttype=20))
sky130_fd_sc_hd__clkdlyb.add(gdstk.Label('AB', (0.345,1.462), layer=68, texttype=20))
sky130_fd_sc_hd__clkdlyb.add(gdstk.Label('A2', (1.745,1.192), layer=68, texttype=20))
sky130_fd_sc_hd__clkdlyb.add(gdstk.Label('A2', (1.745,1.327), layer=68, texttype=20))
sky130_fd_sc_hd__clkdlyb.add(gdstk.Label('A2', (1.745,1.462), layer=68, texttype=20))
sky130_fd_sc_hd__clkdlyb.add(gdstk.Label('A2', (1.745,0.8), layer=68, texttype=20))
sky130_fd_sc_hd__clkdlyb.add(gdstk.Label('A2', (1.745,0.652), layer=68, texttype=20))
sky130_fd_sc_hd__clkdlyb.add(gdstk.Label('A2', (1.745,0.55), layer=68, texttype=20))
sky130_fd_sc_hd__clkdlyb.add(gdstk.Label('AB', (0.517,1.26), layer=68, texttype=20))
sky130_fd_sc_hd__clkdlyb.add(gdstk.Label('AB', (0.632,1.26), layer=68, texttype=20))
sky130_fd_sc_hd__clkdlyb.add(gdstk.Label('AB', (0.747,1.26), layer=68, texttype=20))
sky130_fd_sc_hd__clkdlyb.add(gdstk.Label('AB', (0.862,1.26), layer=68, texttype=20))
sky130_fd_sc_hd__clkdlyb.add(gdstk.Label('AB', (0.967,1.26), layer=68, texttype=20))
sky130_fd_sc_hd__clkdlyb.add(gdstk.Label('AB', (1.025,1.26), layer=68, texttype=20))
sky130_fd_sc_hd__clkdlyb.add(gdstk.Label('AB', (1.092,1.26), layer=68, texttype=20))
sky130_fd_sc_hd__clkdlyb.add(gdstk.Label('AB', (1.207,1.26), layer=68, texttype=20))
sky130_fd_sc_hd__clkdlyb.add(gdstk.Label('AB', (1.322,1.26), layer=68, texttype=20))
sky130_fd_sc_hd__clkdlyb.add(gdstk.Label('AB', (1.38,1.327), layer=68, texttype=20))
sky130_fd_sc_hd__clkdlyb.add(gdstk.Label('AB', (1.38,1.462), layer=68, texttype=20))
sky130_fd_sc_hd__clkdlyb.add(gdstk.Label('A2', (1.745,0.482), layer=68, texttype=20))
sky130_fd_sc_hd__clkdlyb.add(gdstk.Label('A2', (1.745,0.437), layer=68, texttype=20))
sky130_fd_sc_hd__clkdlyb.add(gdstk.Label('A2', (1.745,1.597), layer=68, texttype=20))
sky130_fd_sc_hd__clkdlyb.add(gdstk.Label('AB', (1.38,1.597), layer=68, texttype=20))
sky130_fd_sc_hd__clkdlyb.add(gdstk.Label('AB', (0.345,1.597), layer=68, texttype=20))
sky130_fd_sc_hd__clkdlyb.add(gdstk.Label('A2', (1.745,0.745), layer=68, texttype=20))
sky130_fd_sc_hd__clkdlyb.add(gdstk.Label('A2', (1.745,0.405), layer=68, texttype=20))
sky130_fd_sc_hd__clkdlyb.add(gdstk.Label('AB', (0.345,0.515), layer=68, texttype=20))
sky130_fd_sc_hd__clkdlyb.add(gdstk.Label('A2', (1.792,0.385), layer=68, texttype=20))
sky130_fd_sc_hd__clkdlyb.add(gdstk.Label('AB', (1.38,1.26), layer=68, texttype=20))
sky130_fd_sc_hd__clkdlyb.add(gdstk.Label('A2', (1.897,0.385), layer=68, texttype=20))
sky130_fd_sc_hd__clkdlyb.add(gdstk.Label('A2', (2.012,0.385), layer=68, texttype=20))
sky130_fd_sc_hd__clkdlyb.add(gdstk.Label('AB2', (2.395,1.462), layer=68, texttype=20))
sky130_fd_sc_hd__clkdlyb.add(gdstk.Label('AB2', (2.395,1.597), layer=68, texttype=20))
sky130_fd_sc_hd__clkdlyb.add(gdstk.Label('A2', (2.242,0.385), layer=68, texttype=20))
sky130_fd_sc_hd__clkdlyb.add(gdstk.Label('VGND', (2.415,0), layer=68, texttype=20))
sky130_fd_sc_hd__clkdlyb.add(gdstk.Label('AB2', (3.45,1.597), layer=68, texttype=20))
sky130_fd_sc_hd__clkdlyb.add(gdstk.Label('X', (3.91,0.652), layer=68, texttype=20))
sky130_fd_sc_hd__clkdlyb.add(gdstk.Label('X', (3.91,0.732), layer=68, texttype=20))
sky130_fd_sc_hd__clkdlyb.add(gdstk.Label('X', (3.91,0.8), layer=68, texttype=20))
sky130_fd_sc_hd__clkdlyb.add(gdstk.Label('X', (3.91,0.922), layer=68, texttype=20))
sky130_fd_sc_hd__clkdlyb.add(gdstk.Label('X', (3.91,1.057), layer=68, texttype=20))
sky130_fd_sc_hd__clkdlyb.add(gdstk.Label('X', (3.91,1.192), layer=68, texttype=20))
sky130_fd_sc_hd__clkdlyb.add(gdstk.Label('X', (3.91,1.327), layer=68, texttype=20))
sky130_fd_sc_hd__clkdlyb.add(gdstk.Label('A2', (2.587,0.385), layer=68, texttype=20))
sky130_fd_sc_hd__clkdlyb.add(gdstk.Label('A2', (2.702,0.385), layer=68, texttype=20))
sky130_fd_sc_hd__clkdlyb.add(gdstk.Label('A2', (2.76,0.405), layer=68, texttype=20))
sky130_fd_sc_hd__clkdlyb.add(gdstk.Label('A2', (2.76,0.437), layer=68, texttype=20))
sky130_fd_sc_hd__clkdlyb.add(gdstk.Label('A2', (2.76,0.482), layer=68, texttype=20))
sky130_fd_sc_hd__clkdlyb.add(gdstk.Label('A2', (2.76,0.55), layer=68, texttype=20))
sky130_fd_sc_hd__clkdlyb.add(gdstk.Label('A2', (2.76,0.652), layer=68, texttype=20))
sky130_fd_sc_hd__clkdlyb.add(gdstk.Label('A2', (2.76,0.732), layer=68, texttype=20))
sky130_fd_sc_hd__clkdlyb.add(gdstk.Label('A2', (2.76,0.8), layer=68, texttype=20))
sky130_fd_sc_hd__clkdlyb.add(gdstk.Label('A2', (2.76,0.922), layer=68, texttype=20))
sky130_fd_sc_hd__clkdlyb.add(gdstk.Label('A2', (2.76,1.057), layer=68, texttype=20))
sky130_fd_sc_hd__clkdlyb.add(gdstk.Label('A2', (2.76,1.192), layer=68, texttype=20))
sky130_fd_sc_hd__clkdlyb.add(gdstk.Label('X', (3.91,1.462), layer=68, texttype=20))
sky130_fd_sc_hd__clkdlyb.add(gdstk.Label('AB2', (3.45,1.462), layer=68, texttype=20))
sky130_fd_sc_hd__clkdlyb.add(gdstk.Label('AB2', (3.45,1.327), layer=68, texttype=20))
sky130_fd_sc_hd__clkdlyb.add(gdstk.Label('X', (3.852,0.515), layer=68, texttype=20))
sky130_fd_sc_hd__clkdlyb.add(gdstk.Label('X', (3.91,0.55), layer=68, texttype=20))
sky130_fd_sc_hd__clkdlyb.add(gdstk.Label('AB2', (2.395,0.745), layer=68, texttype=20))
sky130_fd_sc_hd__clkdlyb.add(gdstk.Label('X', (3.91,1.597), layer=68, texttype=20))
sky130_fd_sc_hd__clkdlyb.add(gdstk.Label('VGND', (2.415,0), layer=68, texttype=20))
sky130_fd_sc_hd__clkdlyb.add(gdstk.Label('AB2', (3.45,1.26), layer=68, texttype=20))
sky130_fd_sc_hd__clkdlyb.add(gdstk.Label('VGND', (3.125,0), layer=68, texttype=20))
sky130_fd_sc_hd__clkdlyb.add(gdstk.Label('X', (3.795,0.515), layer=68, texttype=20))
sky130_fd_sc_hd__clkdlyb.add(gdstk.Label('AB2', (2.395,0.8), layer=68, texttype=20))
sky130_fd_sc_hd__clkdlyb.add(gdstk.Label('AB2', (2.395,0.922), layer=68, texttype=20))
sky130_fd_sc_hd__clkdlyb.add(gdstk.Label('A2', (2.347,0.385), layer=68, texttype=20))
sky130_fd_sc_hd__clkdlyb.add(gdstk.Label('A2', (2.76,1.26), layer=68, texttype=20))
sky130_fd_sc_hd__clkdlyb.add(gdstk.Label('A2', (2.405,0.385), layer=68, texttype=20))
sky130_fd_sc_hd__clkdlyb.add(gdstk.Label('A2', (2.472,0.385), layer=68, texttype=20))
sky130_fd_sc_hd__clkdlyb.add(gdstk.Label('AB2', (2.395,1.057), layer=68, texttype=20))
sky130_fd_sc_hd__clkdlyb.add(gdstk.Label('AB2', (2.395,1.192), layer=68, texttype=20))
sky130_fd_sc_hd__clkdlyb.add(gdstk.Label('AB2', (2.395,1.327), layer=68, texttype=20))
sky130_fd_sc_hd__clkdlyb.add(gdstk.Label('VGND', (2.415,0), layer=68, texttype=5))
sky130_fd_sc_hd__clkdlyb.add(gdstk.Label('VPWR', (2.415,3.33), layer=68, texttype=5))

lib.write_gds('sky130_fd_sc_hd__clkdlybuf4s25_2.gds')
